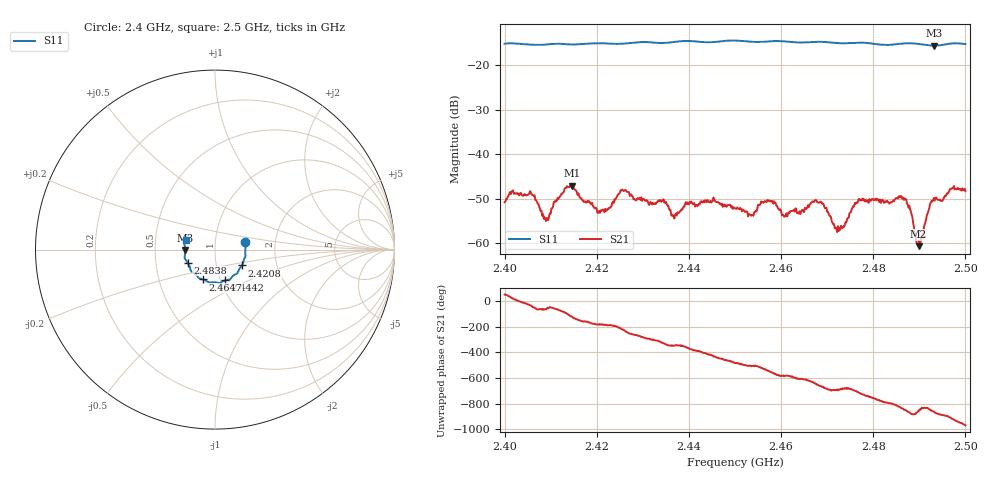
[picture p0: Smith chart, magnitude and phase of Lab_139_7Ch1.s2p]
# Hz S RI R 50
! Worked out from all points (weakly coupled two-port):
!   601 points, 2.4 GHz to 2.5 GHz, reference 50 ohm
!   highest |S21| = -47.08 dB at 2.4147 GHz (marker M1); lowest = -60.7 dB at 2.4898 GHz (marker M2)
!   lowest |S11| = -15.6 dB at 2.4932 GHz (marker M3), VSWR 1.40, Z = 35.8 - j0.117 ohm
!   |S11| at or under -10 dB: start of sweep to end of sweep
!   S12 and S22 are empty: the file has one direction only
!   S11 on the Smith chart (normalised r, x): 2.4 GHz: 1.40, +0.12; 2.4208 GHz: 1.33, -0.24; 2.4442 GHz: 1.05, -0.37; 2.4647 GHz: 0.83, -0.28; 2.4838 GHz: 0.73, -0.11; 2.5 GHz: 0.71, +0.08
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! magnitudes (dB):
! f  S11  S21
! 2.4 GHz  -15.2  -50.8
! 2.406 GHz  -15.4  -49.1
! 2.409 GHz  -15.4  -55.1
! 2.4147 GHz  -15.4  -47.1
! 2.4167 GHz  -15.3  -49.9
! 2.4208 GHz  -15.1  -52.6
! 2.4257 GHz  -15.2  -48.1
! 2.4333 GHz  -15.0  -50.5
! 2.4368 GHz  -14.8  -54.5
! 2.4442 GHz  -14.9  -50.6
! 2.45 GHz  -14.5  -52.2
! 2.4647 GHz  -14.9  -52.5
! 2.4667 GHz  -14.8  -50.9
! 2.4688 GHz  -14.8  -51.1
! 2.4723 GHz  -15.1  -56.2
! 2.4772 GHz  -14.9  -50.4
! 2.4833 GHz  -15.5  -50.8
! 2.4838 GHz  -15.4  -50.8
! 2.487 GHz  -15.1  -50.0
! 2.4898 GHz  -15.2  -60.7
! 2.4932 GHz  -15.6  -49.9
! 2.5 GHz  -15.3  -48.3
